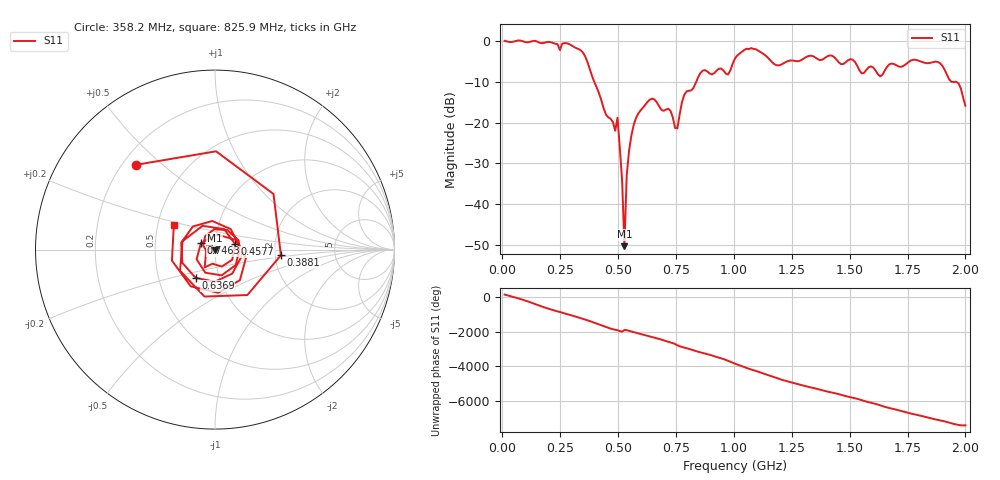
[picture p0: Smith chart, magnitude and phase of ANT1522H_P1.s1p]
!Created with skrf (http://scikit-rf.org).
# Hz S RI R 50.0
!freq ReS11 ImS11
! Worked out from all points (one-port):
!   201 points, 10 MHz to 2 GHz, reference 50 ohm
!   lowest |S11| = -50.2 dB at 527.4 MHz (marker M1), VSWR 1.01, Z = 49.9 - j0.292 ohm
!   |S11| at or under -10 dB: 397.1 MHz to 837.6 MHz (440.6 MHz wide, 71.4 % of centre); 1.94 GHz to end of sweep
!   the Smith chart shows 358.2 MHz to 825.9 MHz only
!   S11 on the Smith chart (normalised r, x): 358.2 MHz: 0.26, +0.41; 388.1 MHz: 2.15, -0.16; 457.8 MHz: 1.25, +0.08; 636.9 MHz: 0.77, -0.25; 746.3 MHz: 0.85, +0.06; 825.9 MHz: 0.61, +0.18
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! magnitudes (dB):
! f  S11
! 10 MHz  0.0
! 258.8 MHz  -0.7
! 358.2 MHz  -3.8
! 388.1 MHz  -8.7
! 457.8 MHz  -18.7
! 487.6 MHz  -22.0
! 497.6 MHz  -18.8
! 507.5 MHz  -26.2
! 517.5 MHz  -34.1
! 527.4 MHz  -50.2
! 537.4 MHz  -32.9
! 557.2 MHz  -23.2
! 636.9 MHz  -14.4
! 726.4 MHz  -17.1
! 746.3 MHz  -21.3
! 756.2 MHz  -21.4
! 786.1 MHz  -13.2
! 825.9 MHz  -11.5
! 865.7 MHz  -7.3
! 975.1 MHz  -8.2
! 1.005 GHz  -4.3
! 1.075 GHz  -1.8
! 1.254 GHz  -4.8
! 1.502 GHz  -4.5
! 1.632 GHz  -8.7
! 1.751 GHz  -5.3
! 1.891 GHz  -5.4
! 2 GHz  -15.9
